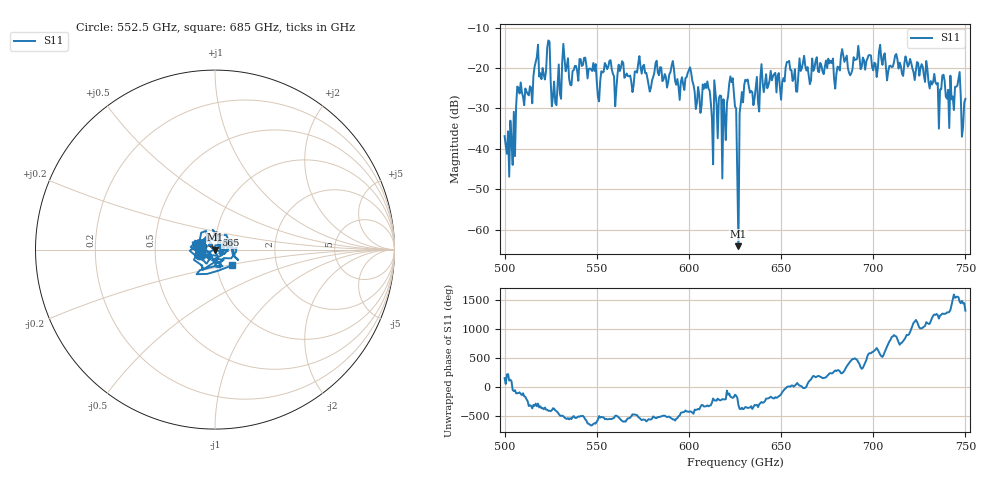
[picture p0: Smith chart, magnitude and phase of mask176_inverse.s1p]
!Created with skrf (http://scikit-rf.org).
# GHz S MA R 50.0
!freq magS11 angS11
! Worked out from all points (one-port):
!   401 points, 500 GHz to 750 GHz, reference 50 ohm
!   lowest |S11| = -64.1 dB at 626.9 GHz (marker M1), VSWR 1.00, Z = 50 + j0.0397 ohm
!   |S11| at or under -10 dB: start of sweep to end of sweep
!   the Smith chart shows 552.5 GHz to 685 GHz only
!   S11 on the Smith chart (normalised r, x): 552.5 GHz: 0.84, -0.05; 665 GHz: 1.00, +0.16; 685 GHz: 1.19, -0.21
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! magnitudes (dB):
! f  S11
! 500 GHz  -36.9
! 503.1 GHz  -33.0
! 507.5 GHz  -24.9
! 513.8 GHz  -24.5
! 516.9 GHz  -18.5
! 523.8 GHz  -13.2
! 526.9 GHz  -23.4
! 531.2 GHz  -18.6
! 552.5 GHz  -20.8
! 562.5 GHz  -20.8
! 593.8 GHz  -22.7
! 610 GHz  -23.3
! 611.9 GHz  -28.6
! 619.4 GHz  -31.7
! 623.1 GHz  -23.5
! 625 GHz  -29.6
! 625.6 GHz  -30.0
! 626.9 GHz  -64.1
! 628.8 GHz  -26.0
! 631.2 GHz  -23.2
! 656.2 GHz  -23.2
! 665 GHz  -21.8
! 685 GHz  -17.7
! 687.5 GHz  -21.8
! 718.8 GHz  -19.7
! 742.5 GHz  -27.8
! 745.6 GHz  -24.4
! 750 GHz  -27.7
